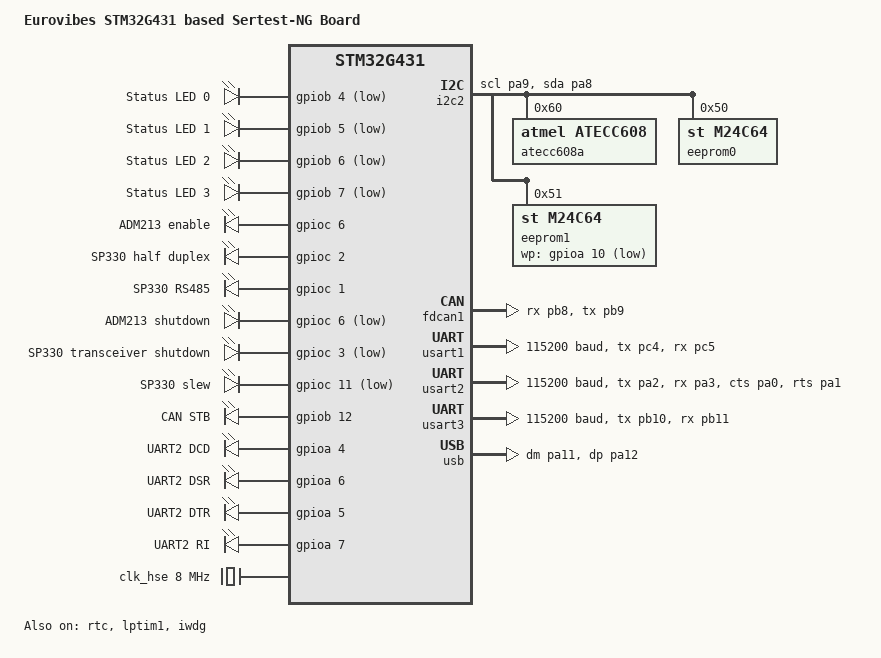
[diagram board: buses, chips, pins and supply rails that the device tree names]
/*
 * Copyright (c) 2026 Benedikt Spranger
 *
 * SPDX-License-Identifier: Apache-2.0
 */

/dts-v1/;
#include <st/g4/stm32g431Xb.dtsi>
#include <st/g4/stm32g431rbtxz-pinctrl.dtsi>
#include <zephyr/dt-bindings/input/input-event-codes.h>

/ {
	model = "Eurovibes STM32G431 based Sertest-NG Board";
	compatible = "eurovibes,stm32g431-sertest-ng";

	chosen {
		zephyr,console = &usart1;
		zephyr,shell-uart = &usart1;
		zephyr,sram = &sram0;
		zephyr,flash = &flash0;
		zephyr,canbus = &fdcan1;
	};

	aliases {
		led0 = &led_0;
		led1 = &led_1;
		led2 = &led_2;
		led3 = &led_3;
		mcuboot-led0 = &led_0;
		watchdog0 = &iwdg;
	};

	leds {
		compatible = "gpio-leds";

		led_0: led0 {
			gpios = <&gpiob 4 GPIO_ACTIVE_LOW>;
			label = "Status LED 0";
		};

		led_1: led1 {
			gpios = <&gpiob 5 GPIO_ACTIVE_LOW>;
			label = "Status LED 1";
		};

		led_2: led2 {
			gpios = <&gpiob 6 GPIO_ACTIVE_LOW>;
			label = "Status LED 2";
		};

		led_3: led3 {
			gpios = <&gpiob 7 GPIO_ACTIVE_LOW>;
			label = "Status LED 3";
		};

		en: en {
			gpios = <&gpioc 6 GPIO_ACTIVE_HIGH>;
			label = "ADM213 enable";
		};

		half: half {
			gpios = <&gpioc 2 GPIO_ACTIVE_HIGH>;
			label = "SP330 half duplex";
		};

		rs485: rs485 {
			gpios = <&gpioc 1 GPIO_ACTIVE_HIGH>;
			label = "SP330 RS485";
		};

		sd: sd {
			gpios = <&gpioc 6 GPIO_ACTIVE_LOW>;
			label = "ADM213 shutdown";
		};

		shdn: shdn {
			gpios = <&gpioc 3 GPIO_ACTIVE_LOW>;
			label = "SP330 transceiver shutdown";
		};

		slew: slew {
			gpios = <&gpioc 11 GPIO_ACTIVE_LOW>;
			label = "SP330 slew";
		};

		stb: stb {
			gpios = <&gpiob 12 GPIO_ACTIVE_HIGH>;
			label = "CAN STB";
		};

		uart2_dcd: uart2_dcd {
			gpios = <&gpioa 4 GPIO_ACTIVE_HIGH>;
			label = "UART2 DCD";
		};

		uart2_dsr: uart2_dsr {
			gpios = <&gpioa 6 GPIO_ACTIVE_HIGH>;
			label = "UART2 DSR";
		};

		uart2_dtr: uart2_dtr {
			gpios = <&gpioa 5 GPIO_ACTIVE_HIGH>;
			label = "UART2 DTR";
		};

		uart2_ri: uart2_ri {
			gpios = <&gpioa 7 GPIO_ACTIVE_HIGH>;
			label = "UART2 RI";
		};
	};

	uart-bridge0 {
		compatible = "zephyr,uart-bridge";
		peers = <&cdc_acm_uart2 &usart2>;
	};

	uart-bridge1 {
		compatible = "zephyr,uart-bridge";
		peers = <&cdc_acm_uart3 &usart3>;
	};
};

&clk_lsi {
	status = "okay";
};

&clk_lse {
	status = "okay";
};

&clk_hsi {
	status = "disabled";
};

&clk_hse {
	status = "okay";
	clock-frequency = <DT_FREQ_M(8)>;
};

&i2c2 {
	pinctrl-0 = <&i2c2_scl_pa9 &i2c2_sda_pa8>;
	pinctrl-names = "default";
	status = "okay";

	atecc608a@60 {
		compatible = "atmel,atecc608";
		reg = <0x60>;
	};

	eeprom0: eeprom@50 {
		compatible = "st,m24c64", "st,m24xxx", "atmel,at24";
		reg = <0x50>;
		size = <8192>;
		pagesize = <32>;
		address-width = <8>;
		timeout = <5>;
	};

	eeprom1: eeprom@51 {
		compatible = "st,m24c64", "st,m24xxx", "atmel,at24";
		reg = <0x51>;
		size = <8192>;
		pagesize = <32>;
		address-width = <8>;
		timeout = <5>;
		wp-gpios = <&gpioa 10 GPIO_ACTIVE_LOW>;
	};
};

&rcc {
	clocks = <&pll>;
	clock-frequency = <DT_FREQ_M(144)>;
	ahb-prescaler = <1>;
	apb1-prescaler = <1>;
	apb2-prescaler = <1>;
};

&pll {
	status = "okay";
	div-m = <2>;
	mul-n = <72>;
	div-p = <2>;
	div-q = <6>;
	div-r = <2>;
	clocks = <&clk_hse>;
};

&rtc {
	status = "okay";
	clocks = <&rcc STM32_CLOCK(APB1, 10)>,
		 <&rcc STM32_SRC_LSE RTC_SEL(1)>;
};

stm32_lp_tick_source: &lptim1 {
	status = "okay";
	clocks = <&rcc STM32_CLOCK(APB1, 31)>,
		 <&rcc STM32_SRC_LSE LPTIM1_SEL(3)>;
};

&flash0 {
	partitions {
		ranges;
		#address-cells = <1>;
		#size-cells = <1>;

		/* 4KiB of storage at the end of the 128KiB FLASH */
		storage_partition: partition@1f000 {
			compatible = "zephyr,mapped-partition";
			label = "storage";
			reg = <0x0001f000 DT_SIZE_K(4)>;
		};
	};
};

&iwdg {
	status = "okay";
};

&fdcan1 {
	status = "okay";
	clocks = <&rcc STM32_CLOCK(APB1, 25)>,
		 <&rcc STM32_SRC_HSE FDCAN_SEL(0)>;
	pinctrl-0 = <&fdcan1_rx_pb8 &fdcan1_tx_pb9>;
	pinctrl-names = "default";
};

&usart1 {
	status = "okay";
	pinctrl-0 = <&usart1_tx_pc4 &usart1_rx_pc5>;
	pinctrl-names = "default";

	current-speed = <115200>;
};

&usart2 {
	status = "okay";
	pinctrl-0 = <&usart2_tx_pa2 &usart2_rx_pa3 &usart2_cts_pa0 &usart2_rts_pa1>;
	pinctrl-names = "default";

	current-speed = <115200>;
};

&usart3 {
	status = "okay";
	pinctrl-0 = <&usart3_tx_pb10 &usart3_rx_pb11>;
	pinctrl-names = "default";

	current-speed = <115200>;
};

zephyr_udc0: &usb {
	pinctrl-0 = <&usb_dm_pa11 &usb_dp_pa12>;
	pinctrl-names = "default";
	clocks = <&rcc STM32_CLOCK(APB1, 23)>,
		 <&rcc STM32_SRC_PLL_Q CLK48_SEL(2)>;
	status = "okay";

	cdc_acm_uart2: cdc_acm_uart2 {
		compatible = "zephyr,cdc-acm-uart";
		label = "USB CDC-ACM uart2";
	};

	cdc_acm_uart3: cdc_acm_uart3 {
		compatible = "zephyr,cdc-acm-uart";
		label = "USB CDC-ACM uart3";
	};
};
